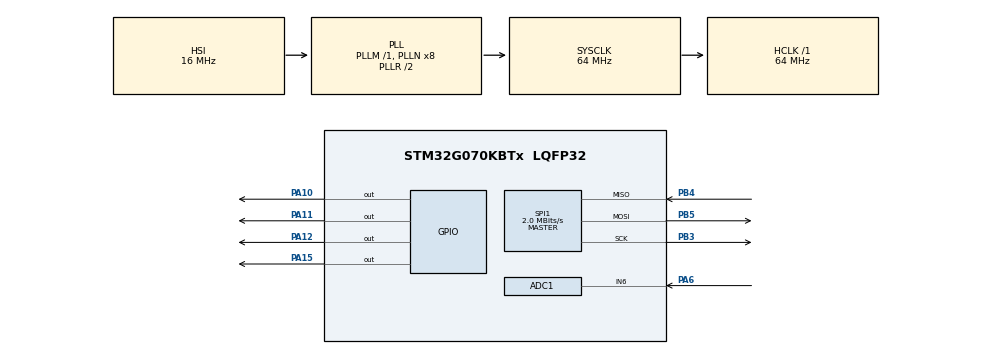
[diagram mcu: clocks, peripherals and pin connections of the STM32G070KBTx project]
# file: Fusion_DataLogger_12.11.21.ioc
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ADC1.Channel-0\#ChannelRegularConversion=ADC_CHANNEL_6
ADC1.ContinuousConvMode=ENABLE
ADC1.NbrOfConversionFlag=1
ADC1.Rank-0\#ChannelRegularConversion=1
ADC1.SamplingTime-0\#ChannelRegularConversion=ADC_SAMPLINGTIME_COMMON_1
ADC1.SamplingTimeCommon1=ADC_SAMPLETIME_39CYCLES_5
ADC1.SelectedChannel=ADC_CHANNEL_6
ADC1.master=1
FATFS._MAX_SS=4096
FATFS._USE_LFN=1
Mcu.Family=STM32G0
Mcu.Name=STM32G070KBTx
Mcu.Package=LQFP32
PA10.Signal=GPIO_Output
PA11\ [PA9].Signal=GPIO_Output
PA12\ [PA10].Signal=GPIO_Output
PA13.Mode=Serial_Wire
PA13.Signal=SYS_SWDIO
PA14-BOOT0.Mode=Serial_Wire
PA14-BOOT0.Signal=SYS_SWCLK
PA15.Signal=GPIO_Output
PA6.Mode=IN6
PA6.Signal=ADC1_IN6
PB3.Mode=Full_Duplex_Master
PB3.Signal=SPI1_SCK
PB4.Mode=Full_Duplex_Master
PB4.Signal=SPI1_MISO
PB5.Mode=Full_Duplex_Master
PB5.Signal=SPI1_MOSI
PC14-OSC32_IN\ (PC14).Mode=LSE-External-Oscillator
PC14-OSC32_IN\ (PC14).Signal=RCC_OSC32_IN
PC15-OSC32_OUT\ (PC15).Mode=LSE-External-Oscillator
PC15-OSC32_OUT\ (PC15).Signal=RCC_OSC32_OUT
ProjectManager.HeapSize=0x200
ProjectManager.StackSize=0x400
ProjectManager.TargetToolchain=STM32CubeIDE
RCC.ADCFreq_Value=64000000
RCC.AHBFreq_Value=64000000
RCC.CortexFreq_Value=64000000
RCC.EXTERNAL_CLOCK_VALUE=48000
RCC.HCLKFreq_Value=64000000
RCC.HSE_VALUE=8000000
RCC.HSI_VALUE=16000000
RCC.RTCClockSelection=RCC_RTCCLKSOURCE_LSE
RCC.SYSCLKFreq_VALUE=64000000
RCC.SYSCLKSource=RCC_SYSCLKSOURCE_PLLCLK
RCC.VCOOutputFreq_Value=128000000
RTC.Date=12
RTC.Hours=11
RTC.Minutes=50
RTC.Month=RTC_MONTH_NOVEMBER
RTC.WeekDay=RTC_WEEKDAY_FRIDAY
RTC.Year=21
SPI1.BaudRatePrescaler=SPI_BAUDRATEPRESCALER_32
SPI1.CalculateBaudRate=2.0 MBits/s
SPI1.DataSize=SPI_DATASIZE_8BIT
SPI1.Direction=SPI_DIRECTION_2LINES
SPI1.Mode=SPI_MODE_MASTER
SPI1.VirtualType=VM_MASTER
VP_FATFS_VS_Generic.Mode=User_defined
VP_RTC_VS_RTC_Activate.Mode=RTC_Enabled
VP_RTC_VS_RTC_Calendar.Mode=RTC_Calendar
VP_SYS_VS_DBSignals.Mode=DisableDeadBatterySignals
board=custom

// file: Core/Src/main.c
/* USER CODE BEGIN Header */
/**
  ******************************************************************************
  * @file           : main.c
  * @brief          : Main program body
  ******************************************************************************
  * @attention
  *
  * <h2><center>&copy; Copyright (c) 2021 STMicroelectronics.
  * All rights reserved.</center></h2>
  *
  * This software component is licensed by ST under BSD 3-Clause license,
  * the "License"; You may not use this file except in compliance with the
  * License. You may obtain a copy of the License at:
  *                        opensource.org/licenses/BSD-3-Clause
  *
  ******************************************************************************
  */
/* USER CODE END Header */
#include "main.h"
#include "app_fatfs.h"

#include "stdio.h"//for sprintf
#include "string.h"
/* USER CODE BEGIN Includes */
  RTC_TimeTypeDef sTime ;
  RTC_DateTypeDef DateToUpdate;

	uint8_t day,month,year;
	uint8_t second,minute,hour;
/* USER CODE END Includes */

/* USER CODE BEGIN PM */
	FATFS fs;
	FIL fil;
/* USER CODE END PM */

ADC_HandleTypeDef hadc1;

RTC_HandleTypeDef hrtc;

SPI_HandleTypeDef hspi1;

/* USER CODE BEGIN PV */
int adc_data;
char analog[5];
char line1[32],line2[32];
/* USER CODE END PV */

void SystemClock_Config(void);
static void MX_GPIO_Init(void);
static void MX_ADC1_Init(void);
static void MX_RTC_Init(void);
static void MX_SPI1_Init(void);

int main(void)
{

  /* MCU Configuration--------------------------------------------------------*/

  /* Reset of all peripherals, Initializes the Flash interface and the Systick. */
  HAL_Init();

  /* Configure the system clock */
  SystemClock_Config();

  /* Initialize all configured peripherals */
  MX_GPIO_Init();
  MX_ADC1_Init();
  MX_RTC_Init();
  MX_SPI1_Init();
  if (MX_FATFS_Init() != APP_OK) {
    Error_Handler();
  }
  /* USER CODE BEGIN 2 */
	HAL_RTC_GetDate(&hrtc,&DateToUpdate,RTC_FORMAT_BIN);

	day=DateToUpdate.Date;
	month=DateToUpdate.Month;
	year=DateToUpdate.Year;

	sprintf(line1,"Date=%0.2d.%0.2d.%0.2d\n",day,month,year);
	f_mount(&fs, "", 0);
f_open(&fil, "Datalogger.txt", FA_OPEN_ALWAYS | FA_WRITE | FA_READ);
f_lseek(&fil, fil.fptr);
	f_puts(line1 , &fil);
	f_puts("Analog Value--------hour\n", &fil);
	f_close(&fil);
  /* USER CODE END 2 */

  /* Infinite loop */
  while (1)
  {
		HAL_Delay(1000);//1sec
		HAL_RTC_GetTime(&hrtc,&sTime,RTC_FORMAT_BIN);

		hour=sTime.Hours;
		minute=sTime.Minutes;
		second=sTime.Seconds;

	  adc_data=ADC1->DR;//adc value
		sprintf(line2,"%0.4d                %0.2d:%0.2d:%0.2d\n",adc_data,hour,minute,second);
		f_mount(&fs, "", 0);
	  f_open(&fil, "Datalogger.txt", FA_OPEN_ALWAYS | FA_WRITE | FA_READ);
	  f_lseek(&fil, fil.fptr);
		f_puts(line2 , &fil);//write data on sd card
	  f_close(&fil);
  }
}

void SystemClock_Config(void)
{
  RCC_OscInitTypeDef RCC_OscInitStruct = {0};
  RCC_ClkInitTypeDef RCC_ClkInitStruct = {0};
  RCC_PeriphCLKInitTypeDef PeriphClkInit = {0};

  /** Configure the main internal regulator output voltage
  */
  HAL_PWREx_ControlVoltageScaling(PWR_REGULATOR_VOLTAGE_SCALE1);
  /** Configure LSE Drive Capability
  */
  HAL_PWR_EnableBkUpAccess();
  __HAL_RCC_LSEDRIVE_CONFIG(RCC_LSEDRIVE_LOW);
  /** Initializes the RCC Oscillators according to the specified parameters
  * in the RCC_OscInitTypeDef structure.
  */
  RCC_OscInitStruct.OscillatorType = RCC_OSCILLATORTYPE_HSI|RCC_OSCILLATORTYPE_LSE;
  RCC_OscInitStruct.LSEState = RCC_LSE_ON;
  RCC_OscInitStruct.HSIState = RCC_HSI_ON;
  RCC_OscInitStruct.HSIDiv = RCC_HSI_DIV1;
  RCC_OscInitStruct.HSICalibrationValue = RCC_HSICALIBRATION_DEFAULT;
  RCC_OscInitStruct.PLL.PLLState = RCC_PLL_ON;
  RCC_OscInitStruct.PLL.PLLSource = RCC_PLLSOURCE_HSI;
  RCC_OscInitStruct.PLL.PLLM = RCC_PLLM_DIV1;
  RCC_OscInitStruct.PLL.PLLN = 8;
  RCC_OscInitStruct.PLL.PLLP = RCC_PLLP_DIV2;
  RCC_OscInitStruct.PLL.PLLR = RCC_PLLR_DIV2;
  if (HAL_RCC_OscConfig(&RCC_OscInitStruct) != HAL_OK)
  {
    Error_Handler();
  }
  /** Initializes the CPU, AHB and APB buses clocks
  */
  RCC_ClkInitStruct.ClockType = RCC_CLOCKTYPE_HCLK|RCC_CLOCKTYPE_SYSCLK
                              |RCC_CLOCKTYPE_PCLK1;
  RCC_ClkInitStruct.SYSCLKSource = RCC_SYSCLKSOURCE_PLLCLK;
  RCC_ClkInitStruct.AHBCLKDivider = RCC_SYSCLK_DIV1;
  RCC_ClkInitStruct.APB1CLKDivider = RCC_HCLK_DIV1;

  if (HAL_RCC_ClockConfig(&RCC_ClkInitStruct, FLASH_LATENCY_2) != HAL_OK)
  {
    Error_Handler();
  }
  /** Initializes the peripherals clocks
  */
  PeriphClkInit.PeriphClockSelection = RCC_PERIPHCLK_RTC|RCC_PERIPHCLK_ADC;
  PeriphClkInit.AdcClockSelection = RCC_ADCCLKSOURCE_SYSCLK;
  PeriphClkInit.RTCClockSelection = RCC_RTCCLKSOURCE_LSE;

  if (HAL_RCCEx_PeriphCLKConfig(&PeriphClkInit) != HAL_OK)
  {
    Error_Handler();
  }
}

static void MX_ADC1_Init(void)
{

  ADC_ChannelConfTypeDef sConfig = {0};

  /** Configure the global features of the ADC (Clock, Resolution, Data Alignment and number of conversion)
  */
  hadc1.Instance = ADC1;
  hadc1.Init.ClockPrescaler = ADC_CLOCK_SYNC_PCLK_DIV2;
  hadc1.Init.Resolution = ADC_RESOLUTION_12B;
  hadc1.Init.DataAlign = ADC_DATAALIGN_RIGHT;
  hadc1.Init.ScanConvMode = ADC_SCAN_DISABLE;
  hadc1.Init.EOCSelection = ADC_EOC_SINGLE_CONV;
  hadc1.Init.LowPowerAutoWait = DISABLE;
  hadc1.Init.LowPowerAutoPowerOff = DISABLE;
  hadc1.Init.ContinuousConvMode = ENABLE;
  hadc1.Init.NbrOfConversion = 1;
  hadc1.Init.DiscontinuousConvMode = DISABLE;
  hadc1.Init.ExternalTrigConv = ADC_SOFTWARE_START;
  hadc1.Init.ExternalTrigConvEdge = ADC_EXTERNALTRIGCONVEDGE_NONE;
  hadc1.Init.DMAContinuousRequests = DISABLE;
  hadc1.Init.Overrun = ADC_OVR_DATA_PRESERVED;
  hadc1.Init.SamplingTimeCommon1 = ADC_SAMPLETIME_39CYCLES_5;
  hadc1.Init.SamplingTimeCommon2 = ADC_SAMPLETIME_1CYCLE_5;
  hadc1.Init.OversamplingMode = DISABLE;
  hadc1.Init.TriggerFrequencyMode = ADC_TRIGGER_FREQ_HIGH;
  if (HAL_ADC_Init(&hadc1) != HAL_OK)
  {
    Error_Handler();
  }
  /** Configure Regular Channel
  */
  sConfig.Channel = ADC_CHANNEL_6;
  sConfig.Rank = ADC_REGULAR_RANK_1;
  sConfig.SamplingTime = ADC_SAMPLINGTIME_COMMON_1;
  if (HAL_ADC_ConfigChannel(&hadc1, &sConfig) != HAL_OK)
  {
    Error_Handler();
  }

}

static void MX_RTC_Init(void)
{

  RTC_TimeTypeDef sTime = {0};
  RTC_DateTypeDef sDate = {0};

  /** Initialize RTC Only
  */
  hrtc.Instance = RTC;
  hrtc.Init.HourFormat = RTC_HOURFORMAT_24;
  hrtc.Init.AsynchPrediv = 127;
  hrtc.Init.SynchPrediv = 255;
  hrtc.Init.OutPut = RTC_OUTPUT_DISABLE;
  hrtc.Init.OutPutRemap = RTC_OUTPUT_REMAP_NONE;
  hrtc.Init.OutPutPolarity = RTC_OUTPUT_POLARITY_HIGH;
  hrtc.Init.OutPutType = RTC_OUTPUT_TYPE_OPENDRAIN;
  hrtc.Init.OutPutPullUp = RTC_OUTPUT_PULLUP_NONE;
  if (HAL_RTC_Init(&hrtc) != HAL_OK)
  {
    Error_Handler();
  }

  /** Initialize RTC and set the Time and Date
  */
  sTime.Hours = 0x11;
  sTime.Minutes = 0x50;
  sTime.Seconds = 0x0;
  sTime.SubSeconds = 0x0;
  sTime.DayLightSaving = RTC_DAYLIGHTSAVING_NONE;
  sTime.StoreOperation = RTC_STOREOPERATION_RESET;
  if (HAL_RTC_SetTime(&hrtc, &sTime, RTC_FORMAT_BCD) != HAL_OK)
  {
    Error_Handler();
  }
  sDate.WeekDay = RTC_WEEKDAY_FRIDAY;
  sDate.Month = RTC_MONTH_NOVEMBER;
  sDate.Date = 0x12;
  sDate.Year = 0x21;

  if (HAL_RTC_SetDate(&hrtc, &sDate, RTC_FORMAT_BCD) != HAL_OK)
  {
    Error_Handler();
  }

}

static void MX_SPI1_Init(void)
{

  /* SPI1 parameter configuration*/
  hspi1.Instance = SPI1;
  hspi1.Init.Mode = SPI_MODE_MASTER;
  hspi1.Init.Direction = SPI_DIRECTION_2LINES;
  hspi1.Init.DataSize = SPI_DATASIZE_8BIT;
  hspi1.Init.CLKPolarity = SPI_POLARITY_LOW;
  hspi1.Init.CLKPhase = SPI_PHASE_1EDGE;
  hspi1.Init.NSS = SPI_NSS_SOFT;
  hspi1.Init.BaudRatePrescaler = SPI_BAUDRATEPRESCALER_32;
  hspi1.Init.FirstBit = SPI_FIRSTBIT_MSB;
  hspi1.Init.TIMode = SPI_TIMODE_DISABLE;
  hspi1.Init.CRCCalculation = SPI_CRCCALCULATION_DISABLE;
  hspi1.Init.CRCPolynomial = 7;
  hspi1.Init.CRCLength = SPI_CRC_LENGTH_DATASIZE;
  hspi1.Init.NSSPMode = SPI_NSS_PULSE_ENABLE;
  if (HAL_SPI_Init(&hspi1) != HAL_OK)
  {
    Error_Handler();
  }

}

static void MX_GPIO_Init(void)
{
  GPIO_InitTypeDef GPIO_InitStruct = {0};

  /* GPIO Ports Clock Enable */
  __HAL_RCC_GPIOC_CLK_ENABLE();
  __HAL_RCC_GPIOA_CLK_ENABLE();
  __HAL_RCC_GPIOB_CLK_ENABLE();

  /*Configure GPIO pin Output Level */
  HAL_GPIO_WritePin(GPIOA, GPIO_PIN_10|GPIO_PIN_11|GPIO_PIN_12|GPIO_PIN_15, GPIO_PIN_RESET);

  /*Configure GPIO pins : PA10 PA11 PA12 PA15 */
  GPIO_InitStruct.Pin = GPIO_PIN_10|GPIO_PIN_11|GPIO_PIN_12|GPIO_PIN_15;
  GPIO_InitStruct.Mode = GPIO_MODE_OUTPUT_PP;
  GPIO_InitStruct.Pull = GPIO_NOPULL;
  GPIO_InitStruct.Speed = GPIO_SPEED_FREQ_LOW;
  HAL_GPIO_Init(GPIOA, &GPIO_InitStruct);

}

void Error_Handler(void)
{
  __disable_irq();
  while (1)
  {
  }
}

/************************ (C) COPYRIGHT STMicroelectronics *****END OF FILE****/
